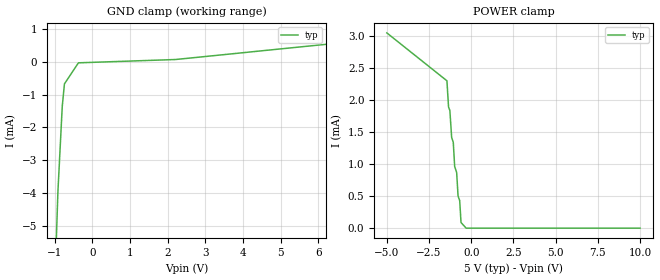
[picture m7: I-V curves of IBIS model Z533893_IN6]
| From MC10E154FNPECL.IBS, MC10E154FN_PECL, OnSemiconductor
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| (C) COPYRIGHT 1993-2000
| MENTOR GRAPHICS CORPORATION
| ICX STANDARD LIBRARY, ICX PROJECT MODELING,
| ICX CUSTOM MODELING, ICX VENDOR MODEL
| ALL RIGHTS RESERVED.
| THE FOLLOWING ARE TRADEMARKS OR SERVICE MARKS OF
| MENTOR GRAPHICS CORPORATION:ICX (R), ICX STANDARD
| LIBRARY(R), ICX PROJECT MODELING(R), ICX CUSTOM
| MODELING(R), qualityIBIS(TM), MODELVIEWER(TM),
| AND MODELEDITOR(TM)
| ALL COPIES OF SOFTWARE, INCLUDING BUT NOT LIMITED TO
| ANY MODIFICATIONS, ENHANCEMENTS OR DERIVATIVE WORKS,
| MUST CONTAIN ALL MENTOR GRAPHICS CORPORATION'S
| NOTICES AND LEGENDS, INCLUDING THOSE EMBEDDED IN
| SOFTWARE AND THOSE AFFIXED TO SOFTWARE MEDIUM
| AND CONTAINER, AS RECEIVED FROM MENTOR GRAPHICS
| CORPORATION.
| Model Application Version 1.89 2/18/99.
[Model] Z533893_IN6
Model_type Input_ECL
Vinl = 3.520V
Vinh = 3.870V
C_comp 4.000pF NA NA
| variable typ   min   max
[Voltage Range] 5.000V NA NA
[GND Clamp Reference] 0.000V NA NA
[POWER Clamp Reference] 5.000V NA NA
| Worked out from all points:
|   GND clamp passes 1 mA (typ) near -0.77 V on its own axis
|   POWER clamp passes 1 mA (typ) near -0.99 V on its own axis
[GND Clamp]
-5V       -206.3mA   NA         NA
-1.034V   -8.054mA   NA         NA
-915.8mV  -3.961mA   NA         NA
-799.8mV  -1.358mA   NA         NA
-742.3mV  -677uA     NA         NA
-371.1mV  -35.25uA   NA         NA
2.207V    65.19uA    NA         NA
10V       964.9uA    NA         NA
[POWER Clamp]
-5V       3.045mA    NA         NA
-1.44V    2.298mA    NA         NA
-1.343V   1.888mA    NA         NA
-1.161V   1.416mA    NA         NA
-1.064V   1.338mA    NA         NA
-981mV    962.1uA    NA         NA
-863mV    867.7uA    NA         NA
-781mV    502.6uA    NA         NA
-683mV    429.6uA    NA         NA
-605mV    88.62uA    NA         NA
-302.5mV  0A         NA         NA
10V       0A         NA         NA
